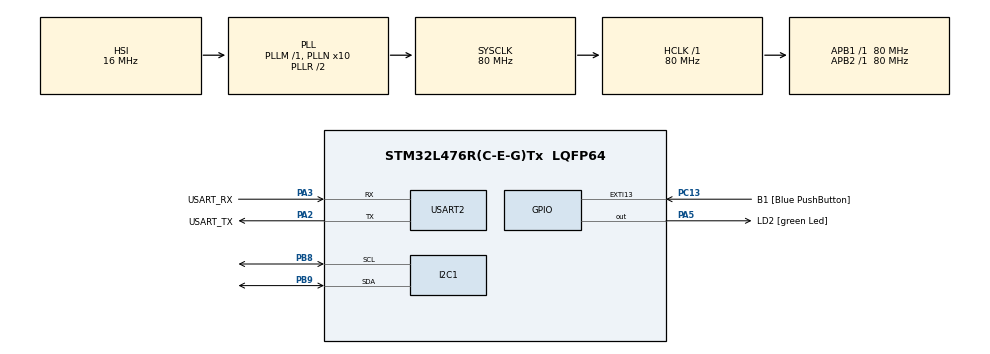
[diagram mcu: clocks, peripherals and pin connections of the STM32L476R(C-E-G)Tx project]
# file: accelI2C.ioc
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I2C1.Timing=0x10D19CE4
Mcu.Family=STM32L4
Mcu.Name=STM32L476R(C-E-G)Tx
Mcu.Package=LQFP64
NVIC.PriorityGroup=NVIC_PRIORITYGROUP_4
PA13\ (JTMS-SWDIO).GPIO_Label=TMS
PA13\ (JTMS-SWDIO).Signal=SYS_JTMS-SWDIO
PA14\ (JTCK-SWCLK).GPIO_Label=TCK
PA14\ (JTCK-SWCLK).Signal=SYS_JTCK-SWCLK
PA2.GPIO_Label=USART_TX
PA2.GPIO_Mode=GPIO_MODE_AF_PP
PA2.GPIO_PuPd=GPIO_NOPULL
PA2.GPIO_Speed=GPIO_SPEED_FREQ_VERY_HIGH
PA2.Mode=Asynchronous
PA2.Signal=USART2_TX
PA3.GPIO_Label=USART_RX
PA3.GPIO_Mode=GPIO_MODE_AF_PP
PA3.GPIO_PuPd=GPIO_NOPULL
PA3.GPIO_Speed=GPIO_SPEED_FREQ_VERY_HIGH
PA3.Mode=Asynchronous
PA3.Signal=USART2_RX
PA5.GPIO_Label=LD2 [green Led]
PA5.GPIO_ModeDefaultOutputPP=GPIO_MODE_OUTPUT_PP
PA5.GPIO_PuPd=GPIO_NOPULL
PA5.GPIO_Speed=GPIO_SPEED_FREQ_LOW
PA5.Signal=GPIO_Output
PB3\ (JTDO-TRACESWO).GPIO_Label=SWO
PB3\ (JTDO-TRACESWO).Signal=SYS_JTDO-SWO
PB8.Mode=I2C
PB8.Signal=I2C1_SCL
PB9.Mode=I2C
PB9.Signal=I2C1_SDA
PC13.GPIO_Label=B1 [Blue PushButton]
PC13.GPIO_ModeDefaultEXTI=GPIO_MODE_IT_FALLING
PC13.GPIO_PuPd=GPIO_NOPULL
PC13.Signal=GPXTI13
PC14-OSC32_IN\ (PC14).Signal=RCC_OSC32_IN
PC15-OSC32_OUT\ (PC15).Signal=RCC_OSC32_OUT
PH0-OSC_IN\ (PH0).Signal=RCC_OSC_IN
PH1-OSC_OUT\ (PH1).Signal=RCC_OSC_OUT
ProjectManager.HeapSize=0x200
ProjectManager.StackSize=0x400
ProjectManager.TargetToolchain=STM32CubeIDE
RCC.ADCFreq_Value=64000000
RCC.AHBFreq_Value=80000000
RCC.APB1Freq_Value=80000000
RCC.APB1TimFreq_Value=80000000
RCC.APB2Freq_Value=80000000
RCC.APB2TimFreq_Value=80000000
RCC.CortexFreq_Value=80000000
RCC.HCLKFreq_Value=80000000
RCC.HSE_VALUE=8000000
RCC.HSI_VALUE=16000000
RCC.LSE_VALUE=32768
RCC.MSI_VALUE=4000000
RCC.PLLN=10
RCC.PLLSourceVirtual=RCC_PLLSOURCE_HSI
RCC.PREFETCH_ENABLE=1
RCC.SYSCLKFreq_VALUE=80000000
RCC.SYSCLKSource=RCC_SYSCLKSOURCE_PLLCLK
RCC.USBFreq_Value=64000000
RCC.VCOOutputFreq_Value=160000000
USART2.VirtualMode-Asynchronous=VM_ASYNC
board=NUCLEO-L476RG

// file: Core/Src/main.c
/* USER CODE BEGIN Header */
/**
  ******************************************************************************
  * @file           : main.c
  * @brief          : Main program body
  ******************************************************************************
  * @attention
  *
  * Copyright (c) 2026 STMicroelectronics.
  * All rights reserved.
  *
  * This software is licensed under terms that can be found in the LICENSE file
  * in the root directory of this software component.
  * If no LICENSE file comes with this software, it is provided AS-IS.
  *
  ******************************************************************************
  */
/* USER CODE END Header */
#include "main.h"

/* USER CODE BEGIN Includes */
#include <string.h>
#include <stdio.h>
/* USER CODE END Includes */

/* USER CODE BEGIN PD */
#define ICM20648_REG_WHO_AM_I 				0x00	/**< Device ID register                                     */
#define ICM20648_REG_PWR_MGMT_1          	0x06    /**< Power Management 1 register                            */
#define ICM20648_REG_ACCEL_XOUT_H_SH     	0x2D    /**< Accelerometer X-axis data high byte                    */
#define ICM20648_REG_ACCEL_XOUT_L_SH     	0x2E    /**< Accelerometer X-axis data low byte                     */
#define ICM20648_REG_ACCEL_YOUT_H_SH     	0x2F    /**< Accelerometer Y-axis data high byte                    */
#define ICM20648_REG_ACCEL_YOUT_L_SH     	0x30    /**< Accelerometer Y-axis data low byte                     */
#define ICM20648_REG_ACCEL_ZOUT_H_SH     	0x31    /**< Accelerometer Z-axis data high byte                    */
#define ICM20648_REG_ACCEL_ZOUT_L_SH     	0x32    /**< Accelerometer Z-axis data low byte                     */
/* USER CODE END PD */

I2C_HandleTypeDef hi2c1;

UART_HandleTypeDef huart2;

/* USER CODE BEGIN PV */
static const uint8_t IMU_ADDR = 0x69 << 1; // Use 8-bit address
/* USER CODE END PV */

void SystemClock_Config(void);
static void MX_GPIO_Init(void);
static void MX_I2C1_Init(void);
static void MX_USART2_UART_Init(void);

/* USER CODE BEGIN 0 */
int16_t probeX;
/* USER CODE END 0 */

int main(void)
{

  /* USER CODE BEGIN 1 */
	HAL_StatusTypeDef ret;
	char msg[20]; // Allocate an array of characters to send to Putty.
	uint8_t buf[6]; // Allocate an array of unsigned integers to communicate with I2C
  /* USER CODE END 1 */

  /* MCU Configuration--------------------------------------------------------*/

  /* Reset of all peripherals, Initializes the Flash interface and the Systick. */
  HAL_Init();

  /* Configure the system clock */
  SystemClock_Config();

  /* Initialize all configured peripherals */
  MX_GPIO_Init();
  MX_I2C1_Init();
  MX_USART2_UART_Init();

  /* Infinite loop */
  /* USER CODE BEGIN WHILE */
	// Get the ICM-20948 that it is connected
	buf[0] = ICM20648_REG_WHO_AM_I;
	ret = HAL_I2C_Master_Transmit(&hi2c1, IMU_ADDR, buf, 1, HAL_MAX_DELAY);
	if (ret != HAL_OK) {
		strcpy(msg, "Error Tx\r\n");
	} else {
		// read Who am I register
		ret = HAL_I2C_Master_Receive(&hi2c1, IMU_ADDR, buf, 1, HAL_MAX_DELAY);
		if (ret != HAL_OK) {
			strcpy(msg, "Error Tx\r\n");
		} else {
			 // Convert to string and print
			    sprintf(msg, "%hu\r\n", buf[0]);
		}
	}
	// send out buffer (chid id or error message)
	HAL_UART_Transmit(&huart2, (uint8_t*)msg, strlen(msg), HAL_MAX_DELAY); // If all is OK, you should see 0xEA (234) in Putty

	// Power up the sensors
	buf[0] = ICM20648_REG_PWR_MGMT_1;
	buf[1] = 0x01;
	ret = HAL_I2C_Master_Transmit(&hi2c1, IMU_ADDR, buf, 2, HAL_MAX_DELAY);
	if (ret != HAL_OK) {
		strcpy(msg, "Error Tx\r\n");
	} else {
				strcpy(msg, "Sensors are on\r\n");
	}
	// send out buffer (power status or error message)
	HAL_UART_Transmit(&huart2, (uint8_t*)msg, strlen(msg), HAL_MAX_DELAY);
  while (1)
  {
		buf[0] = ICM20648_REG_ACCEL_XOUT_H_SH;
		ret = HAL_I2C_Master_Transmit(&hi2c1, IMU_ADDR, buf, 1, HAL_MAX_DELAY);
		if (ret != HAL_OK) {
			strcpy(msg, "Error Tx\r\n");
		} else {
			// read Who am I register
			ret = HAL_I2C_Master_Receive(&hi2c1, IMU_ADDR, buf, 2, HAL_MAX_DELAY);
			if (ret != HAL_OK) {
				strcpy(msg, "Error Tx\r\n");
			} else {
				 // Convert to string and print
				probeX = (buf[0] << 8 | buf[1]) - 2147483648;
				sprintf(msg, "%hd\r\n", probeX);
			}
		}
		// send out buffer (chid id or error message)
		HAL_UART_Transmit(&huart2, (uint8_t*)msg, strlen(msg), HAL_MAX_DELAY); // If all is OK, you should see accelX
		HAL_Delay(500);
    /* USER CODE END WHILE */

  }
}

void SystemClock_Config(void)
{
  RCC_OscInitTypeDef RCC_OscInitStruct = {0};
  RCC_ClkInitTypeDef RCC_ClkInitStruct = {0};

  /** Configure the main internal regulator output voltage
  */
  if (HAL_PWREx_ControlVoltageScaling(PWR_REGULATOR_VOLTAGE_SCALE1) != HAL_OK)
  {
    Error_Handler();
  }

  /** Initializes the RCC Oscillators according to the specified parameters
  * in the RCC_OscInitTypeDef structure.
  */
  RCC_OscInitStruct.OscillatorType = RCC_OSCILLATORTYPE_HSI;
  RCC_OscInitStruct.HSIState = RCC_HSI_ON;
  RCC_OscInitStruct.HSICalibrationValue = RCC_HSICALIBRATION_DEFAULT;
  RCC_OscInitStruct.PLL.PLLState = RCC_PLL_ON;
  RCC_OscInitStruct.PLL.PLLSource = RCC_PLLSOURCE_HSI;
  RCC_OscInitStruct.PLL.PLLM = 1;
  RCC_OscInitStruct.PLL.PLLN = 10;
  RCC_OscInitStruct.PLL.PLLP = RCC_PLLP_DIV7;
  RCC_OscInitStruct.PLL.PLLQ = RCC_PLLQ_DIV2;
  RCC_OscInitStruct.PLL.PLLR = RCC_PLLR_DIV2;
  if (HAL_RCC_OscConfig(&RCC_OscInitStruct) != HAL_OK)
  {
    Error_Handler();
  }

  /** Initializes the CPU, AHB and APB buses clocks
  */
  RCC_ClkInitStruct.ClockType = RCC_CLOCKTYPE_HCLK|RCC_CLOCKTYPE_SYSCLK
                              |RCC_CLOCKTYPE_PCLK1|RCC_CLOCKTYPE_PCLK2;
  RCC_ClkInitStruct.SYSCLKSource = RCC_SYSCLKSOURCE_PLLCLK;
  RCC_ClkInitStruct.AHBCLKDivider = RCC_SYSCLK_DIV1;
  RCC_ClkInitStruct.APB1CLKDivider = RCC_HCLK_DIV1;
  RCC_ClkInitStruct.APB2CLKDivider = RCC_HCLK_DIV1;

  if (HAL_RCC_ClockConfig(&RCC_ClkInitStruct, FLASH_LATENCY_4) != HAL_OK)
  {
    Error_Handler();
  }
}

static void MX_I2C1_Init(void)
{

  hi2c1.Instance = I2C1;
  hi2c1.Init.Timing = 0x10D19CE4;
  hi2c1.Init.OwnAddress1 = 0;
  hi2c1.Init.AddressingMode = I2C_ADDRESSINGMODE_7BIT;
  hi2c1.Init.DualAddressMode = I2C_DUALADDRESS_DISABLE;
  hi2c1.Init.OwnAddress2 = 0;
  hi2c1.Init.OwnAddress2Masks = I2C_OA2_NOMASK;
  hi2c1.Init.GeneralCallMode = I2C_GENERALCALL_DISABLE;
  hi2c1.Init.NoStretchMode = I2C_NOSTRETCH_DISABLE;
  if (HAL_I2C_Init(&hi2c1) != HAL_OK)
  {
    Error_Handler();
  }

  /** Configure Analogue filter
  */
  if (HAL_I2CEx_ConfigAnalogFilter(&hi2c1, I2C_ANALOGFILTER_ENABLE) != HAL_OK)
  {
    Error_Handler();
  }

  /** Configure Digital filter
  */
  if (HAL_I2CEx_ConfigDigitalFilter(&hi2c1, 0) != HAL_OK)
  {
    Error_Handler();
  }

}

static void MX_USART2_UART_Init(void)
{

  huart2.Instance = USART2;
  huart2.Init.BaudRate = 115200;
  huart2.Init.WordLength = UART_WORDLENGTH_8B;
  huart2.Init.StopBits = UART_STOPBITS_1;
  huart2.Init.Parity = UART_PARITY_NONE;
  huart2.Init.Mode = UART_MODE_TX_RX;
  huart2.Init.HwFlowCtl = UART_HWCONTROL_NONE;
  huart2.Init.OverSampling = UART_OVERSAMPLING_16;
  huart2.Init.OneBitSampling = UART_ONE_BIT_SAMPLE_DISABLE;
  huart2.AdvancedInit.AdvFeatureInit = UART_ADVFEATURE_NO_INIT;
  if (HAL_UART_Init(&huart2) != HAL_OK)
  {
    Error_Handler();
  }

}

static void MX_GPIO_Init(void)
{
  GPIO_InitTypeDef GPIO_InitStruct = {0};

  /* GPIO Ports Clock Enable */
  __HAL_RCC_GPIOC_CLK_ENABLE();
  __HAL_RCC_GPIOH_CLK_ENABLE();
  __HAL_RCC_GPIOA_CLK_ENABLE();
  __HAL_RCC_GPIOB_CLK_ENABLE();

  /*Configure GPIO pin Output Level */
  HAL_GPIO_WritePin(LD2_GPIO_Port, LD2_Pin, GPIO_PIN_RESET);

  /*Configure GPIO pin : B1_Pin */
  GPIO_InitStruct.Pin = B1_Pin;
  GPIO_InitStruct.Mode = GPIO_MODE_IT_FALLING;
  GPIO_InitStruct.Pull = GPIO_NOPULL;
  HAL_GPIO_Init(B1_GPIO_Port, &GPIO_InitStruct);

  /*Configure GPIO pin : LD2_Pin */
  GPIO_InitStruct.Pin = LD2_Pin;
  GPIO_InitStruct.Mode = GPIO_MODE_OUTPUT_PP;
  GPIO_InitStruct.Pull = GPIO_NOPULL;
  GPIO_InitStruct.Speed = GPIO_SPEED_FREQ_LOW;
  HAL_GPIO_Init(LD2_GPIO_Port, &GPIO_InitStruct);

}

void Error_Handler(void)
{
  __disable_irq();
  while (1)
  {
  }
}
